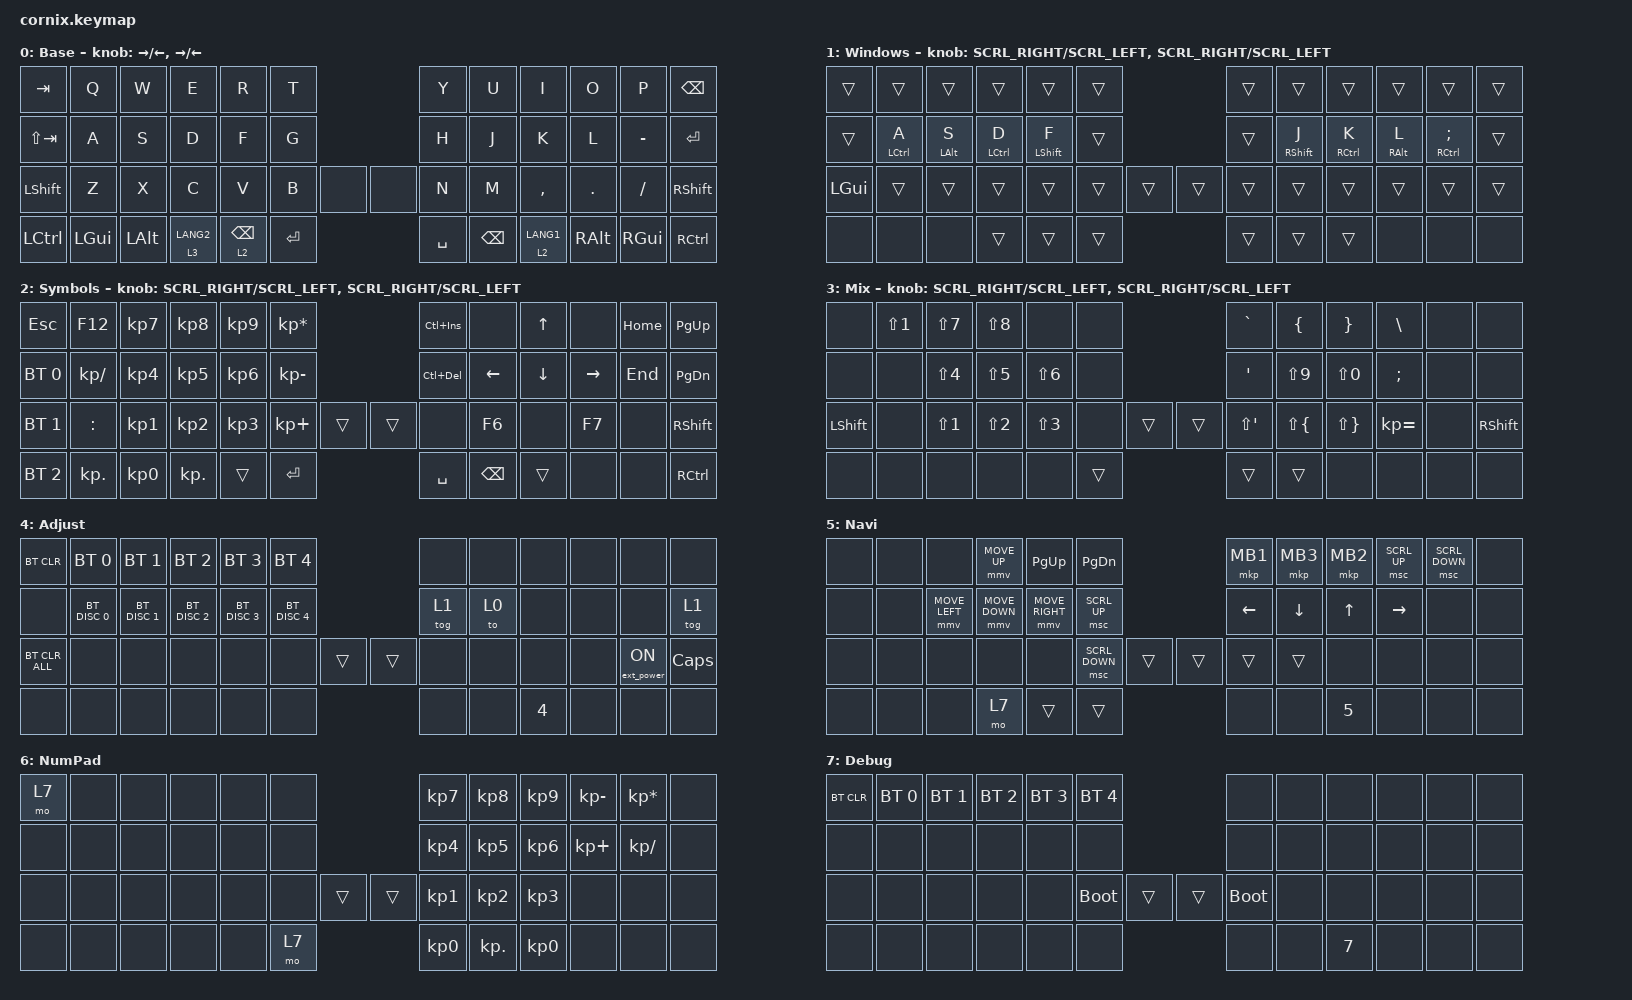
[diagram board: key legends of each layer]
/*
 * Copyright (c) 2020 The ZMK Contributors
 *
 * SPDX-License-Identifier: MIT
 */

#include "zmk-helpers/helper.h"
#include "includes/cornix54.h"

// tap windows for ctl alt and gui

#define HM_TAPPING_TERM 250
#define HM_TAPPING_REPEAT 210

// quick tapping for shift

#define HM_TAPPING_TERM_FAST 200
#define HM_PRIOR_IDLE 70
#define BASE 0
#define WIN 1
#define LOWER 2
#define RAISE 3
#define ADJUST 4
#define NAVI   5
#define NUM    6
#define DEBUG  7

// https://github.com/urob/zmk-config/tree/main#timeless-homerow-mods

#define KEYS_L LT0 LT1 LT2 LT3 LT4 LT5 LM0 LM1 LM2 LM3 LM4 LM5 LB0 LB1 LB2 LB3 LB4 LB5  // left hand
#define KEYS_R RT0 RT1 RT2 RT3 RT4 RT5 RM0 RM1 RM2 RM3 RM4 RM5 RB0 RB1 RB2 RB3 RB4 RB5  // right hand
#define THUMBS LH1 LH0 RH0 RH1
#define KEYS_T LH1 LH0 RH0 RH1
#define ZMK_POINTING_DEFAULT_SCRL_VAL 15

#include <behaviors.dtsi>
#include <dt-bindings/zmk/bt.h>
#include <dt-bindings/zmk/ext_power.h>
#include <dt-bindings/zmk/keys.h>
#include <dt-bindings/zmk/pointing.h>

/ {
    // Activate ADJUST layer by pressing raise and lower

    behaviors {
        hm_l: homerow_mods_left {
            compatible = "zmk,behavior-hold-tap";
            #binding-cells = <2>;
            bindings = <&kp>, <&kp>;

            flavor = "balanced";
            tapping-term-ms = <HM_TAPPING_TERM>;
            quick-tap-ms = <200>;                // repeat on tap-into-hold
            require-prior-idle-ms = <HM_PRIOR_IDLE>;
            hold-trigger-key-positions = <KEYS_R KEYS_T>;
            hold-trigger-on-release;
        };

        hm_r: homerow_mods_right {
            compatible = "zmk,behavior-hold-tap";
            #binding-cells = <2>;
            bindings = <&kp>, <&kp>;

            flavor = "balanced";
            tapping-term-ms = <HM_TAPPING_TERM>;
            quick-tap-ms = <200>;
            require-prior-idle-ms = <HM_PRIOR_IDLE>;
            hold-trigger-key-positions = <KEYS_L KEYS_T>;
            hold-trigger-on-release;
        };

        // Positional Homerow mods for shift
        // Use faster tapping term and disable some features that may
        // cause false negatives.

        hm_shift_l: hm_shift_l {
            compatible = "zmk,behavior-hold-tap";
            #binding-cells = <2>;
            bindings = <&kp>, <&kp>;

            //flavor = "balanced";

            flavor = "balanced";
            tapping-term-ms = <HM_TAPPING_TERM_FAST>;
            quick-tap-ms = <200>;
            require-prior-idle-ms = <HM_PRIOR_IDLE>;
            hold-trigger-key-positions = <KEYS_R KEYS_T>;
            hold-trigger-on-release;
        };

        hm_shift_r: hm_shift_r {
            compatible = "zmk,behavior-hold-tap";
            #binding-cells = <2>;
            bindings = <&kp>, <&kp>;

            flavor = "balanced";
            tapping-term-ms = <HM_TAPPING_TERM_FAST>;
            quick-tap-ms = <200>;
            require-prior-idle-ms = <HM_PRIOR_IDLE>;
            hold-trigger-key-positions = <KEYS_L KEYS_T>;

            // for quick tapping; shift+~

            hold-trigger-on-release;
        };

        /*
         * Non-Positional Homerow Mods
         * Used for &mm_grescm_gui behavior on left hand.
         *
         * Usage: &hm LSHFT T
         * Tap: T
         * Tap-Tap-Hold: Repeat T
         * Hold: LSHIFT
         */

        hm: homerow_mods {
            compatible = "zmk,behavior-hold-tap";
            #binding-cells = <2>;
            bindings = <&kp>, <&kp>;

            flavor = "balanced";
            tapping-term-ms = <HM_TAPPING_TERM>;
            quick-tap-ms = <200>;
        };

        lt: layer_tap {
            compatible = "zmk,behavior-hold-tap";
            #binding-cells = <2>;
            bindings = <&mo>, <&kp>;

            flavor = "hold-preferred";
            tapping-term-ms = <HM_TAPPING_TERM>;
            quick-tap-ms = <200>;
        };
    };

    conditional_layers {
        compatible = "zmk,conditional-layers";

        adjust_layer {
            if-layers = <3 2>;
            then-layer = <4>;
        };
    };

    combos {
        compatible = "zmk,combos";

        cb_ltm {
            bindings = <&kp ESC>;
            key-positions = <2 4>;
            layers = <0 1>;
        };

        cb_lm {
            bindings = <&kp TAB>;
            key-positions = <14 16>;
            layers = <0 1>;
        };

        cb_enter {
            bindings = <&kp RET>;
            key-positions = <21 19>;
            layers = <0 1>;
        };

        layer3 {
            bindings = <&kp N3>;
            key-positions = <5 6>;
        };

        layer4 {
            bindings = <&kp N4>;
            key-positions = <5 6>;
        };
    };

    keymap {
        compatible = "zmk,keymap";

        default_layer {
            display-name = "Base";

            // ------------------------------------------------------------------------------------------------------------
            // |   `   |  1  |  2  |  3   |  4   |  5   |                   |  6   |  7    |  8    |  9   |   0   |       |
            // |  ESC  |  Q  |  W  |  E   |  R   |  T   |                   |  Y   |  U    |  I    |  O   |   P   | BKSPC |
            // |  TAB  |  A  |  S  |  D   |  F   |  G   |                   |  H   |  J    |  K    |  L   |   ;   |   '   |
            // | SHIFT |  Z  |  X  |  C   |  V   |  B   |  MUTE  |  |       |  N   |  M    |  ,    |  .   |   /   | SHIFT |
            //               | GUI | ALT  | CTRL | LOWER|  ENTER |  | SPACE | RAISE| CTRL  | ALT   | GUI  |

            bindings = <
&kp TAB      &kp Q     &kp W     &kp E        &kp R       &kp T                    &kp Y      &kp U     &kp I        &kp O     &kp P      &kp BACKSPACE
&kp LS(TAB)  &kp A     &kp S     &kp D        &kp F       &kp G                    &kp H      &kp J     &kp K        &kp L     &kp MINUS  &kp ENTER
&kp LSHIFT   &kp Z     &kp X     &kp C        &kp V       &kp B      &none  &none  &kp N      &kp M     &kp COMMA    &kp DOT   &kp SLASH  &kp RSHIFT
&kp LCTRL    &kp LGUI  &kp LALT  &lt 3 LANG2  &lt 2 BSPC  &kp ENTER                &kp SPACE  &kp BSPC  &lt 2 LANG1  &kp RALT  &kp RGUI   &kp RCTRL
            >;

            sensor-bindings = <&inc_dec_kp RIGHT LEFT &inc_dec_kp RIGHT LEFT>;
        };

        win_layer {
            display-name = "Windows";

            // ------------------------------------------------------------------------------------------------------------
            // |   `   |  1  |  2  |  3   |  4   |  5   |                   |  6   |  7    |  8    |  9   |   0   |       |
            // |  ESC  |  Q  |  W  |  E   |  R   |  T   |                   |  Y   |  U    |  I    |  O   |   P   | BKSPC |
            // |  TAB  |  A  |  S  |  D   |  F   |  G   |                   |  H   |  J    |  K    |  L   |   ;   |   '   |
            // | SHIFT |  Z  |  X  |  C   |  V   |  B   |  MUTE  |  |       |  N   |  M    |  ,    |  .   |   /   | SHIFT |
            //               | GUI | ALT  | CTRL | LOWER|  ENTER |  | SPACE | RAISE| CTRL  | ALT   | GUI  |

            bindings = <
&trans    &trans         &trans        &trans         &trans               &trans                  &trans  &trans               &trans         &trans        &trans            &trans
&trans    &hm_l LCTRL A  &hm_l LALT S  &hm_l LCTRL D  &hm_shift_l LSHFT F  &trans                  &trans  &hm_shift_r RSHFT J  &hm_r RCTRL K  &hm_r RALT L  &hm_r RCTRL SEMI  &trans
&kp LGUI  &trans         &trans        &trans         &trans               &trans  &trans  &trans  &trans  &trans               &trans         &trans        &trans            &trans
&none     &none          &none         &trans         &trans               &trans                  &trans  &trans               &trans         &none         &none             &none
            >;

            sensor-bindings = <&inc_dec_kp SCRL_RIGHT SCRL_LEFT &inc_dec_kp SCRL_RIGHT SCRL_LEFT>;
        };

        Symbol_layer {
            display-name = "Symbols";

            // TODO: Some binds are waiting for shifted keycode support.
            // -------------------------------
            // |       |  F1 |  F2 |  F3  |  F4  |  F5  |                   |  F6  |  F7   |  F8   |  F9  |  F10  |  F11  |
            // |   `   |  1  |  2  |  3   |  4   |  5   |                   |  6   |  7    |  8    |  9   |   0   |  F12  |
            // |       |  !  |  @  |  #   |  $   |  %   |                   |  ^   |  &    |  *    |  (   |   )   |   |   |
            // |       |  =  |  -  |  +   |  {   |  }   |        |  |       |  [   |  ]    |  ;    |  :   |   \   |       |
            //               |     |      |      |      |        |  |       |      |       |       |      |

            bindings = <
&kp ESC       &kp F12        &kp KP_N7  &kp KP_N8   &kp KP_N9  &kp KP_MULTIPLY                  &kp LC(INS)  &none     &kp UP    &none      &kp HOME  &kp PG_UP
&bt BT_SEL 0  &kp KP_DIVIDE  &kp KP_N4  &kp KP_N5   &kp KP_N6  &kp KP_MINUS                     &kp LC(DEL)  &kp LEFT  &kp DOWN  &kp RIGHT  &kp END   &kp PG_DN
&bt BT_SEL 1  &kp COLON      &kp KP_N1  &kp KP_N2   &kp KP_N3  &kp KP_PLUS      &trans  &trans  &none        &kp F6    &none     &kp F7     &none     &kp RSHIFT
&bt BT_SEL 2  &kp KP_DOT     &kp KP_N0  &kp KP_DOT  &trans     &kp ENTER                        &kp SPACE    &kp BSPC  &trans    &none      &none     &kp RCTRL
            >;

            sensor-bindings = <&inc_dec_kp SCRL_RIGHT SCRL_LEFT &inc_dec_kp SCRL_RIGHT SCRL_LEFT>;
        };

        Mix_layer {
            display-name = "Mix";

            // ------------------------------------------------------------------------------------------------------------
            // | BTCLR | BT1  | BT2  |  BT3  |  BT4  |  BT5 |                |      |      |       |      |       |       |
            // |       | INS  | PSCR | GUI   |       |      |                | PGUP |      |   ^   |      |       |       |
            // |       | ALT  | CTRL | SHIFT |       | CAPS |                | PGDN |   <- |   v   |  ->  |  DEL  | BKSPC |
            // |       | UNDO | CUT  | COPY  | PASTE |      |      |  |      |      |      |       |      |       |       |
            //                |      |       |       |      |      |  |      |      |      |       |      |

            bindings = <
&none       &kp LS(N1)  &kp LS(N7)  &kp LS(N8)  &none       &none                   &kp GRAVE    &kp LBRC      &kp RBRC      &kp BSLH      &none  &none
&none       &none       &kp LS(N4)  &kp LS(N5)  &kp LS(N6)  &none                   &kp SQT      &kp LS(N9)    &kp LS(N0)    &kp SEMI      &none  &none
&kp LSHIFT  &none       &kp LS(N1)  &kp LS(N2)  &kp LS(N3)  &none   &trans  &trans  &kp LS(SQT)  &kp LS(LBRC)  &kp LS(RBRC)  &kp KP_EQUAL  &none  &kp RSHIFT
&none       &none       &none       &none       &none       &trans                  &trans       &trans        &none         &none         &none  &none
            >;

            sensor-bindings = <&inc_dec_kp SCRL_RIGHT SCRL_LEFT &inc_dec_kp SCRL_RIGHT SCRL_LEFT>;
        };

        Adjust_layer {
            display-name = "Adjust";

            // ----------------------------------------------------------------------------------------------------------------------------
            // | BTCLR  |  BT1    |  BT2    |   BT3   |   BT4   |   BT5   |                  |      |      |       |      |       |       |
            // | moDEBUG| RGB_HUD | RGB_HUI | RGB_SAD | RGB_SAI | RGB_EFF |                  |      |      |       |      |       |       |
            // | EXTPWR | RGB_BRD | RGB_BRI |         |         |         |                  |      |      |       |      |       |       |
            // |        |         |         |         |         |         | RGB_TOG | |      |      |      |       |      |       |       |
            //                    |         |         |         |         |         | |      |      |      |       |      |

            bindings = <
&bt BT_CLR      &bt BT_SEL 0   &bt BT_SEL 1   &bt BT_SEL 2   &bt BT_SEL 3   &bt BT_SEL 4                   &none   &none  &none   &none  &none             &none
&none           &bt BT_DISC 0  &bt BT_DISC 1  &bt BT_DISC 2  &bt BT_DISC 3  &bt BT_DISC 4                  &tog 1  &to 0  &none   &none  &none             &tog 1
&bt BT_CLR_ALL  &none          &none          &none          &none          &none          &trans  &trans  &none   &none  &none   &none  &ext_power EP_ON  &kp CAPSLOCK
&none           &none          &none          &none          &none          &none                          &none   &none  &kp N4  &none  &none             &none
            >;
        };

        Navi_layer {
            display-name = "Navi";
            bindings = <
&none  &none  &none           &mmv MOVE_UP    &kp PAGE_UP      &kp PAGE_DOWN                   &mkp MB1  &mkp MB3  &mkp MB2  &msc SCRL_UP  &msc SCRL_DOWN  &none
&none  &none  &mmv MOVE_LEFT  &mmv MOVE_DOWN  &mmv MOVE_RIGHT  &msc SCRL_UP                    &kp LEFT  &kp DOWN  &kp UP    &kp RIGHT     &none           &none
&none  &none  &none           &none           &none            &msc SCRL_DOWN  &trans  &trans  &trans    &trans    &none     &none         &none           &none
&none  &none  &none           &mo 7           &trans           &trans                          &none     &none     &kp N5    &none         &none           &none
            >;
        };

        KeyPad_layer {
            display-name = "NumPad";
            bindings = <
&mo 7  &none  &none  &none  &none  &none                  &kp KP_N7        &kp KP_N8        &kp KP_N9        &kp KP_MINUS  &kp KP_MULTIPLY  &none
&none  &none  &none  &none  &none  &none                  &kp KP_NUMBER_4  &kp KP_NUMBER_5  &kp KP_N6        &kp KP_PLUS   &kp KP_DIVIDE    &none
&none  &none  &none  &none  &none  &none  &trans  &trans  &kp KP_NUMBER_1  &kp KP_NUMBER_2  &kp KP_N3        &none         &none            &none
&none  &none  &none  &none  &none  &mo 7                  &kp KP_N0        &kp KP_DOT       &kp KP_NUMBER_0  &none         &none            &none
            >;
        };

        Debug_layer {
            display-name = "Debug";

            // ----------------------------------------------------------------------------------------------------------------------------
            // | BTCLR  |  BT1    |  BT2    |   BT3   |   BT4   |   BT5   |                  |      |      |       |      |       |       |
            // | EXTPWR | BTCLR | RGB_HUI | RGB_SAD | RGB_SAI | RGB_EFF |                  |      |      |       |      |       |       |
            // |        | RGB_BRD | RGB_BRI |         |         |         |                  |      |      |       |      |       |       |
            // |        |         |         |         |         |         | RGB_TOG | |      |      |      |       |      |       |       |
            //                    |         |         |         |         |         | |      |      |      |       |      |

            bindings = <
&bt BT_CLR  &bt BT_SEL 0  &bt BT_SEL 1  &bt BT_SEL 2  &bt BT_SEL 3  &bt BT_SEL 4                  &none        &none  &none   &none  &none  &none
&none       &none         &none         &none         &none         &none                         &none        &none  &none   &none  &none  &none
&none       &none         &none         &none         &none         &bootloader   &trans  &trans  &bootloader  &none  &none   &none  &none  &none
&none       &none         &none         &none         &none         &none                         &none        &none  &kp N7  &none  &none  &none
            >;
        };
    };
};
